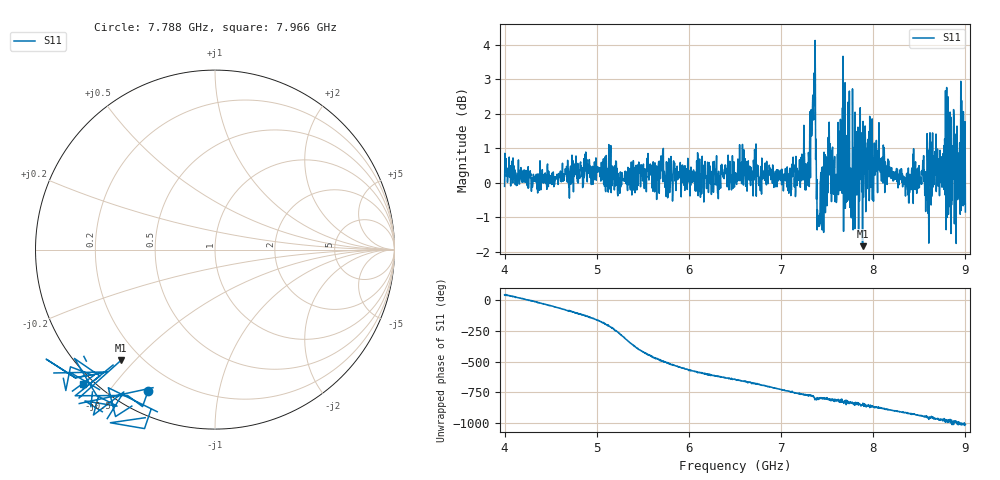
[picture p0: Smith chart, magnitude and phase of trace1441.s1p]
! Created with skrf 1.8.0 (http://scikit-rf.org).
# Hz S RI R 50.0
!freq ReS11 ImS11
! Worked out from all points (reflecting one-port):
!   1601 points, 4 GHz to 9 GHz, reference 50 ohm
!   lowest |S11| = -1.8 dB at 7.884 GHz (marker M1), VSWR 9.51, Z = 6.37 - j22.8 ohm
!   phase of S11 starts at 39 deg and turns -1046 deg over the sweep
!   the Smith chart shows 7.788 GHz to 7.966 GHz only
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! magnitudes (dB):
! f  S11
! 4 GHz  -0.1
! 4.625 GHz  0.3
! 4.897 GHz  0.0
! 5.25 GHz  -0.3
! 5.709 GHz  0.3
! 5.875 GHz  0.1
! 6.5 GHz  0.3
! 7.125 GHz  0.2
! 7.284 GHz  0.6
! 7.347 GHz  2.5
! 7.366 GHz  2.2
! 7.409 GHz  -1.0
! 7.538 GHz  0.9
! 7.591 GHz  0.1
! 7.669 GHz  0.9
! 7.75 GHz  -0.4
! 7.775 GHz  2.7
! 7.844 GHz  1.2
! 7.884 GHz  -1.8
! 8.375 GHz  -0.1
! 8.581 GHz  -0.3
! 8.656 GHz  0.8
! 8.816 GHz  -0.9
! 8.841 GHz  1.9
! 8.884 GHz  1.4
! 8.919 GHz  -0.4
! 8.959 GHz  2.4
! 9 GHz  -0.8
